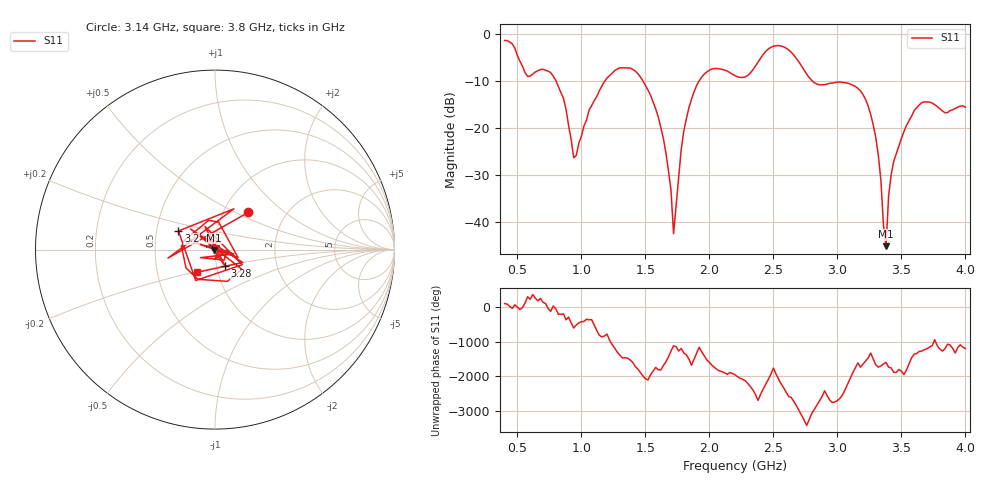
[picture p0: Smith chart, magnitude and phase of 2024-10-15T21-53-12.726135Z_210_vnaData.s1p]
! Created with skrf (http://scikit-rf.org).
# Hz S RI R 50.0
!freq ReS11 ImS11
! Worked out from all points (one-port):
!   181 points, 400 MHz to 4 GHz, reference 50 ohm
!   lowest |S11| = -45.1 dB at 3.38 GHz (marker M1), VSWR 1.01, Z = 49.5 - j0.226 ohm
!   |S11| at or under -10 dB: 802.9 MHz to 1.182 GHz (378.8 MHz wide, 38.2 % of centre); 1.483 GHz to 1.918 GHz (435.4 MHz wide, 25.6 % of centre); 2.808 GHz to end of sweep
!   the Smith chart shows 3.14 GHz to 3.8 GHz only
!   S11 on the Smith chart (normalised r, x): 3.14 GHz: 1.31, +0.59; 3.2 GHz: 0.65, +0.14; 3.28 GHz: 1.10, -0.21; 3.8 GHz: 0.79, -0.21
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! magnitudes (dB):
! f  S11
! 400 MHz  -1.3
! 860 MHz  -13.6
! 940 MHz  -26.2
! 1.06 GHz  -16.1
! 1.3 GHz  -7.1
! 1.44 GHz  -8.3
! 1.58 GHz  -15.8
! 1.66 GHz  -25.2
! 1.7 GHz  -33.1
! 1.72 GHz  -42.4
! 1.76 GHz  -30.2
! 1.82 GHz  -18.0
! 1.92 GHz  -9.9
! 2.2 GHz  -8.8
! 2.5 GHz  -2.5
! 2.66 GHz  -4.4
! 2.84 GHz  -10.6
! 3.1 GHz  -10.6
! 3.14 GHz  -11.1
! 3.2 GHz  -12.8
! 3.28 GHz  -19.3
! 3.32 GHz  -25.8
! 3.38 GHz  -45.1
! 3.4 GHz  -34.4
! 3.42 GHz  -29.8
! 3.56 GHz  -18.4
! 3.8 GHz  -15.8
! 4 GHz  -15.5
